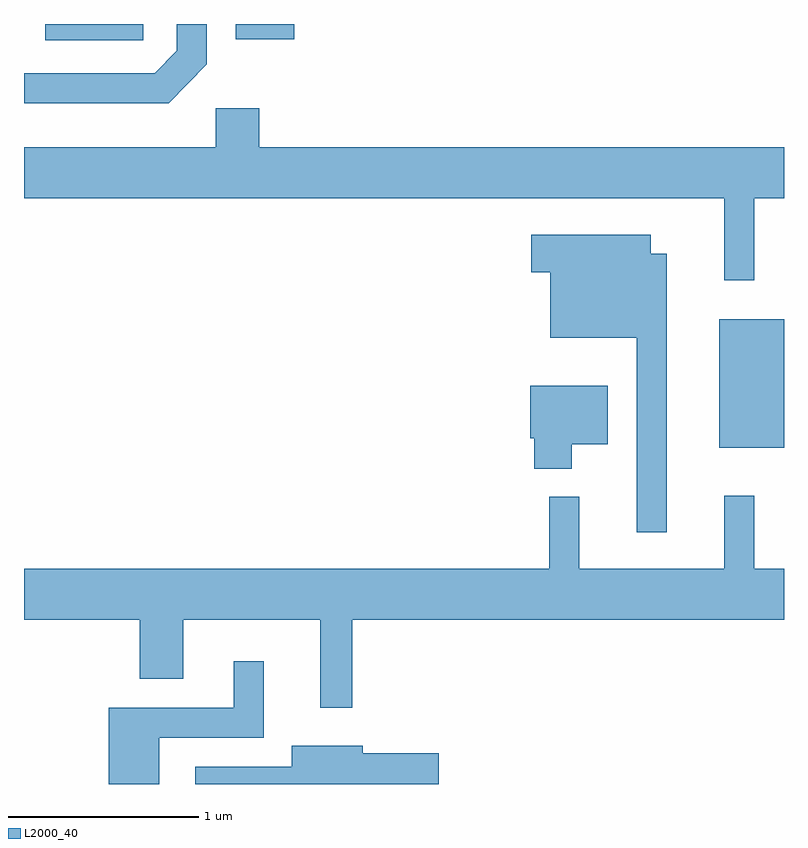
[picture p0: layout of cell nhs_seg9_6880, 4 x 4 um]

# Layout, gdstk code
import gdstk
lib = gdstk.Library(unit=1e-6, precision=1e-09)
def R(c, l, rs):  # rectangles x0, y0, x1, y1
    for r in rs: c.add(gdstk.rectangle(r[:2], r[2:], *l))
def P(c, l, *ps):  # polygons
    for p in ps: c.add(gdstk.Polygon(p, *l))
L2000_40 = (2000, 40)

nhs_seg9_6880 = lib.new_cell('nhs_seg9_6880')
R(nhs_seg9_6880, L2000_40, [(391.271,2068.201,391.611,2068.879), (387.723,2070.346,388.239,2070.432), (388.726,2070.351,389.034,2070.432)])
P(nhs_seg9_6880, L2000_40, [(388.574,2070.219),(388.574,2070.432),(388.416,2070.432),(388.416,2070.292),(388.299,2070.174),(387.611,2070.174),(387.611,2070.016),(388.372,2070.016)],
  [(391.454,2069.516),(391.611,2069.516),(391.611,2069.784),(388.849,2069.784),(388.849,2069.989),(388.621,2069.989),(388.621,2069.784),(387.611,2069.784),(387.611,2069.516),(391.296,2069.516),(391.296,2069.083),(391.454,2069.083)],
  [(390.994,2069.224),(390.909,2069.224),(390.909,2069.324),(390.281,2069.324),(390.281,2069.126),(390.381,2069.126),(390.381,2068.781),(390.836,2068.781),(390.836,2067.758),(390.994,2067.758)],
  [(390.494,2068.221),(390.684,2068.221),(390.684,2068.529),(390.276,2068.529),(390.276,2068.251),(390.296,2068.251),(390.296,2068.091),(390.494,2068.091)],
  [(389.339,2067.296),(391.611,2067.296),(391.611,2067.564),(391.454,2067.564),(391.454,2067.948),(391.296,2067.948),(391.296,2067.564),(390.534,2067.564),(390.534,2067.943),(390.376,2067.943),(390.376,2067.564),(387.611,2067.564),(387.611,2067.296),(388.221,2067.296),(388.221,2066.986),(388.449,2066.986),(388.449,2067.296),(389.171,2067.296),(389.171,2066.833),(389.339,2066.833)],
  [(388.324,2066.676),(388.874,2066.676),(388.874,2067.077),(388.716,2067.077),(388.716,2066.834),(388.056,2066.834),(388.056,2066.432),(388.324,2066.432)],
  [(389.794,2066.594),(389.394,2066.594),(389.394,2066.634),(389.021,2066.634),(389.021,2066.524),(388.513,2066.524),(388.513,2066.432),(389.794,2066.432)])

lib.write_gds('nhs_seg9_6880.gds')
